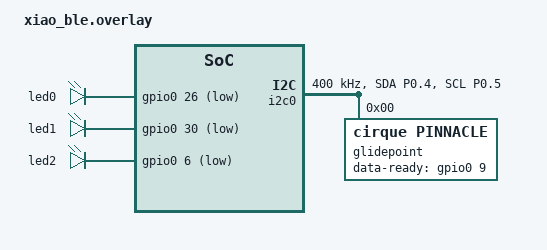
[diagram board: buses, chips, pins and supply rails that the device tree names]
/**
 * Board-specific overlay for seeeduino_xiao_ble
 * Applies only when building corne_xiao_v2_right with this board.
 */

// ======== i2c0 pin control ========
// D4   = P0.04 = SDA
// D5   = P0.05 = SCL
// NFC1 = P0.09 = DR

&pinctrl {
    i2c0_default: i2c0_default {
        group1 {
            psels = <NRF_PSEL(TWIM_SDA, 0, 4)>,
                    <NRF_PSEL(TWIM_SCL, 0, 5)>;
        };
    };
    i2c0_sleep: i2c0_sleep {
        group1 {
            psels = <NRF_PSEL(TWIM_SDA, 0, 4)>,
                    <NRF_PSEL(TWIM_SCL, 0, 5)>;
            low-power-enable;
        };
    };
};

&i2c0 {
    compatible = "nordic,nrf-twim";
    status = "okay";
    pinctrl-0 = <&i2c0_default>;
    pinctrl-1 = <&i2c0_sleep>;
    pinctrl-names = "default", "sleep";
    clock-frequency = <I2C_BITRATE_FAST>;

    glidepoint: glidepoint@0 {
        status = "okay";
        compatible = "cirque,pinnacle";
        reg = <0>;
        data-ready-gpios = <&gpio0 9 (GPIO_ACTIVE_HIGH | GPIO_PULL_DOWN)>;
        sleep-mode-enable;
        sensitivity = "2x";
    };
};

/ {
    aliases {
        led-red = &led0;
        led-green = &led1;
        led-blue = &led2;
    };

    leds {
        compatible = "gpio-leds";
        status = "okay";
        led0: led_0 {
            gpios = <&gpio0 26 GPIO_ACTIVE_LOW>;  // red LED, connected to P0.26
        };
        led1: led_1 {
            gpios = <&gpio0 30 GPIO_ACTIVE_LOW>;  // green LED, connected to P0.30
        };
        led2: led_2 {
            gpios = <&gpio0 6 GPIO_ACTIVE_LOW>;  // blue LED, connected to P0.06
        };
    };
};
